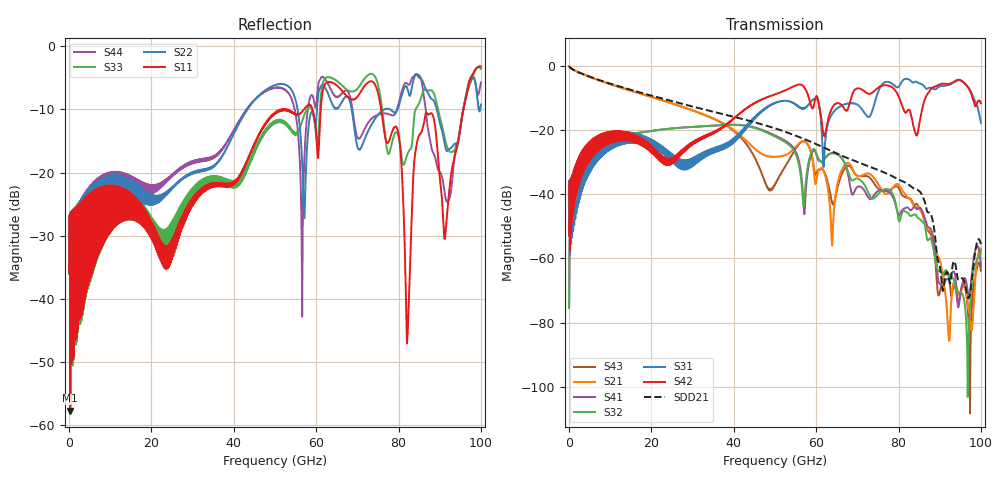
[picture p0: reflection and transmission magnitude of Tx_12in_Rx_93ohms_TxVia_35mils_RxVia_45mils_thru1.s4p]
! Info: Touchstone file created by Circ.  Input file=Tx_12in_Rx_93ohms_TxVia_35mils_RxVia_45mils.circ
# Hz S RI R 50
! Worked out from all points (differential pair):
!   10000 points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, 10 MHz to 100 GHz, reference 50 ohm
!   strongest paths, dB at 10 MHz, 25.01 GHz, 50.01 GHz, 75.01 GHz, 100 GHz:
!     S42: -52.9, -30.2, -8.9, -6.9, -11.7
!     S31: -52.9, -28.6, -11.7, -8.3, -17.8
!     S32: -75.3, -19.5, -22.1, -40.0, -57.6
!     S41: -75.3, -19.5, -21.7, -39.0, -62.4
!     S21: -0.1, -11.7, -28.4, -36.7, -56.9
!     S43: -0.1, -11.7, -36.9, -38.2, -63.8
!   taken as a pair (ports 1,3 in; 2,4 out), SDD21 dB: -0.1, -11.1, -19.5, -32.4, -55.5
!   lowest |S11| = -57.7 dB at 270 MHz (marker M1), VSWR 1.00, Z = 49.9 - j0.0023 ohm
!   |S11| at or under -10 dB: start of sweep to 51.66 GHz; 52.78 GHz to 57.04 GHz (4.264 GHz wide, 7.76 % of centre); 75.77 GHz to 95.75 GHz (19.98 GHz wide, 23.3 % of centre) (the widest 3 of 8)
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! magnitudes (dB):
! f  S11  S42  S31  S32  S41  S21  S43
! 10 MHz  -35.9  -52.9  -52.9  -75.3  -75.3  -0.1  -0.1
! 270 MHz  -57.7  -44.2  -44.3  -48.4  -48.4  -0.6  -0.6
! 40.97 GHz  -20.9  -15.3  -21.6  -18.5  -18.4  -21.0  -21.4
! 73.78 GHz  -5.7  -8.2  -13.4  -41.4  -40.8  -34.5  -36.0
! 82.22 GHz  -45.3  -13.9  -4.1  -45.8  -44.2  -41.0  -41.2
! 92.19 GHz  -23.7  -5.7  -6.0  -65.5  -66.1  -84.3  -65.4
! 100 GHz  -3.2  -11.7  -17.8  -57.6  -62.4  -56.9  -63.8
